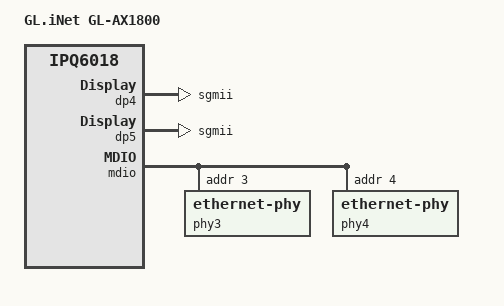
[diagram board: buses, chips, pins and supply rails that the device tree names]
// SPDX-License-Identifier: GPL-2.0-or-later OR MIT
// Copyright (c) 2021 AmadeusGhost <amadeus@jmu.edu.cn>

#include "qcom-ipq6018-glinet.dtsi"

/ {
	model = "GL.iNet GL-AX1800";
	compatible = "glinet,gl-ax1800", "qcom,ipq6018";

	aliases {
		ethernet3 = "/soc/dp4";
		ethernet4 = "/soc/dp5";
	};

	soc {
		ess-switch@3a000000 {
			qcom,port_phyinfo {
				port@2 {
					port_id = <4>;
					phy_address = <3>;
				};
				port@3 {
					port_id = <5>;
					phy_address = <4>;
				};
			};
		};

		dp4 {
			device_type = "network";
			compatible = "qcom,nss-dp";
			qcom,id = <4>;
			reg = <0x3a001600 0x200>;
			qcom,mactype = <0>;
			local-mac-address = [000000000000];
			qcom,link-poll = <1>;
			qcom,phy-mdio-addr = <3>;
			phy-mode = "sgmii";
		};

		dp5 {
			device_type = "network";
			compatible = "qcom,nss-dp";
			qcom,id = <5>;
			reg = <0x3a001800 0x200>;
			qcom,mactype = <0>;
			local-mac-address = [000000000000];
			qcom,link-poll = <1>;
			qcom,phy-mdio-addr = <4>;
			phy-mode = "sgmii";
		};
	};
};

&mdio {
	phy3: ethernet-phy@3 {
		reg = <3>;
	};

	phy4: ethernet-phy@4 {
		reg = <4>;
	};
};
